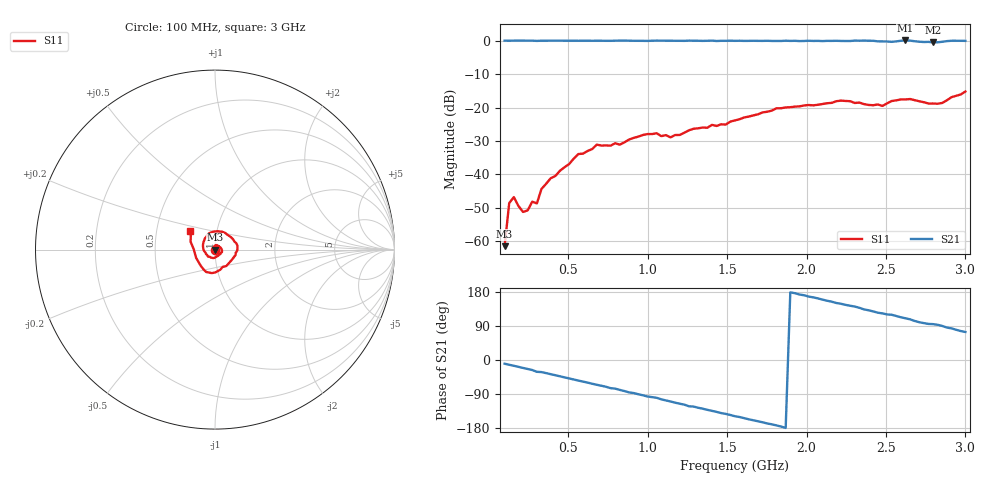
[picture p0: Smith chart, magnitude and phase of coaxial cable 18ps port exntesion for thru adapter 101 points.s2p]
# HZ S RI R 50
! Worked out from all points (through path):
!   101 points, 100 MHz to 3 GHz, reference 50 ohm
!   highest |S21| = 0.11 dB at 2.623 GHz (marker M1); lowest = -0.5 dB at 2.797 GHz (marker M2)
!   group delay of S21, straight-line fit = 264 ps
!   lowest |S11| = -61.6 dB at 100 MHz (marker M3), VSWR 1.00, Z = 50 - j0.067 ohm
!   |S11| at or under -10 dB: start of sweep to end of sweep
!   S12 and S22 are empty: the file has one direction only
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1e8  -0.000496 -0.000671  0.9911 -0.1706  0 0  0 0
1.29e8  0.00343 -0.00137  0.9789 -0.2189  0 0  0 0
1.58e8  0.00117 -0.00439  0.9706 -0.2641  0 0  0 0
2.16e8  -0.000406 -0.00269  0.94 -0.3598  0 0  0 0
2.45e8  -0.00177 -0.00226  0.9209 -0.4035  0 0  0 0
2.74e8  -0.00315 -0.00226  0.8998 -0.4484  0 0  0 0
3.03e8  -0.00363 -0.000348  0.8529 -0.5161  0 0  0 0
3.32e8  -0.00584 0.00142  0.8525 -0.53  0 0  0 0
3.9e8  -0.00752 0.0044  0.7983 -0.6105  0 0  0 0
5.93e8  -0.00213 0.0202  0.5465 -0.8405  0 0  0 0
6.8e8  0.00565 0.0272  0.4173 -0.9111  0 0  0 0
1.086e9  0.0315 -0.0199  -0.2387 -0.9759  0 0  0 0
1.26e9  -0.00185 -0.0455  -0.5354 -0.8524  0 0  0 0
1.55e9  -0.0641 -0.00117  -0.8507 -0.5231  0 0  0 0
1.753e9  -0.0463 0.073  -0.9773 -0.2161  0 0  0 0
2.043e9  0.0662 0.085  -0.9635 0.2533  0 0  0 0
2.217e9  0.125 0.0222  -0.8479 0.5215  0 0  0 0
2.362e9  0.1035 -0.0442  -0.6941 0.7311  0 0  0 0
2.536e9  0.00623 -0.125  -0.4737 0.8411  0 0  0 0
2.623e9  -0.0328 -0.128  -0.3475 0.9508  0 0  0 0
2.797e9  -0.1052 -0.046  -0.0759 0.9419  0 0  0 0
3e9  -0.139 0.104  0.2762 0.9592  0 0  0 0
